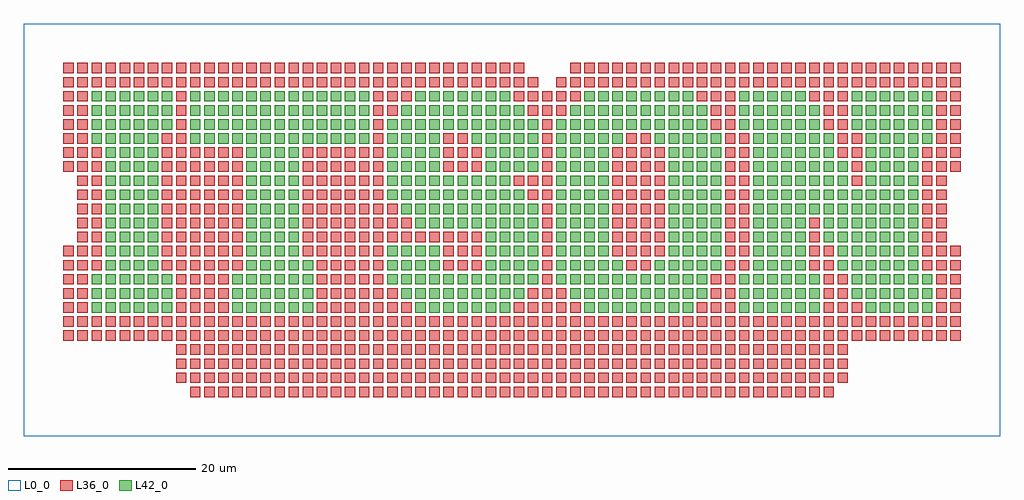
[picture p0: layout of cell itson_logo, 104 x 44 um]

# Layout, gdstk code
import gdstk
lib = gdstk.Library(unit=1e-6, precision=1e-09)
def R(c, l, rs):  # rectangles x0, y0, x1, y1
    for r in rs: c.add(gdstk.rectangle(r[:2], r[2:], *l))
def A(c, l, x, y, w, h, nx, ny, dx, dy):  # array of equal rectangles
    R(c, l, [(x+i*dx, y+j*dy, x+i*dx+w, y+j*dy+h) for i in range(nx) for j in range(ny)])
L0_0 = (0, 0)
L36_0 = (36, 0)
L42_0 = (42, 0)

itson_logo = lib.new_cell('itson_logo')
R(itson_logo, L0_0, [(0,0,104,44)])
A(itson_logo, L36_0, 17.7, 4.2, 1.1, 1.1, 46, 1, 1.5, 0)
A(itson_logo, L36_0, 16.2, 5.7, 1.1, 1.1, 48, 3, 1.5, 1.5)
A(itson_logo, L36_0, 4.2, 10.2, 1.1, 1.1, 64, 2, 1.5, 1.5)
A(itson_logo, L36_0, 4.2, 13.2, 1.1, 1.1, 1, 3, 0, 1.5)
A(itson_logo, L36_0, 5.7, 13.2, 1.1, 1.1, 1, 3, 0, 1.5)
A(itson_logo, L36_0, 16.2, 13.2, 1.1, 1.1, 4, 3, 1.5, 1.5)
A(itson_logo, L36_0, 31.2, 13.2, 1.1, 1.1, 7, 1, 1.5, 0)
A(itson_logo, L36_0, 52.2, 13.2, 1.1, 1.1, 5, 2, 1.5, 22.5)
A(itson_logo, L36_0, 71.7, 13.2, 1.1, 1.1, 3, 2, 1.5, 22.5)
A(itson_logo, L36_0, 85.2, 13.2, 1.1, 1.1, 3, 1, 1.5, 0)
A(itson_logo, L36_0, 97.2, 13.2, 1.1, 1.1, 1, 3, 0, 1.5)
A(itson_logo, L36_0, 98.7, 13.2, 1.1, 1.1, 1, 3, 0, 1.5)
A(itson_logo, L36_0, 31.2, 14.7, 1.1, 1.1, 6, 1, 1.5, 0)
A(itson_logo, L36_0, 53.7, 14.7, 1.1, 1.1, 3, 2, 1.5, 19.5)
A(itson_logo, L36_0, 74.7, 14.7, 1.1, 1.1, 1, 14, 0, 1.5)
A(itson_logo, L36_0, 85.2, 14.7, 1.1, 1.1, 1, 4, 0, 1.5)
A(itson_logo, L36_0, 31.2, 16.2, 1.1, 1.1, 5, 2, 1.5, 1.5)
A(itson_logo, L36_0, 55.2, 16.2, 1.1, 1.1, 1, 7, 0, 1.5)
A(itson_logo, L36_0, 4.2, 17.7, 1.1, 1.1, 3, 2, 1.5, 1.5)
A(itson_logo, L36_0, 14.7, 17.7, 1.1, 1.1, 6, 9, 1.5, 1.5)
A(itson_logo, L36_0, 44.7, 17.7, 1.1, 1.1, 3, 2, 1.5, 1.5)
A(itson_logo, L36_0, 76.2, 17.7, 1.1, 1.1, 1, 10, 0, 1.5)
A(itson_logo, L36_0, 83.7, 17.7, 1.1, 1.1, 1, 4, 0, 1.5)
A(itson_logo, L36_0, 95.7, 17.7, 1.1, 1.1, 3, 2, 1.5, 1.5)
A(itson_logo, L36_0, 29.7, 19.2, 1.1, 1.1, 6, 2, 1.5, 6)
A(itson_logo, L36_0, 62.7, 19.2, 1.1, 1.1, 4, 8, 1.5, 1.5)
A(itson_logo, L36_0, 5.7, 20.7, 1.1, 1.1, 1, 5, 0, 1.5)
A(itson_logo, L36_0, 7.2, 20.7, 1.1, 1.1, 1, 5, 0, 1.5)
A(itson_logo, L36_0, 29.7, 20.7, 1.1, 1.1, 13, 1, 1.5, 0)
A(itson_logo, L36_0, 95.7, 20.7, 1.1, 1.1, 1, 5, 0, 1.5)
A(itson_logo, L36_0, 97.2, 20.7, 1.1, 1.1, 1, 5, 0, 1.5)
A(itson_logo, L36_0, 29.7, 22.2, 1.1, 1.1, 8, 1, 1.5, 0)
A(itson_logo, L36_0, 29.7, 23.7, 1.1, 1.1, 7, 1, 1.5, 0)
A(itson_logo, L36_0, 29.7, 26.7, 1.1, 1.1, 6, 3, 1.5, 1.5)
A(itson_logo, L36_0, 52.2, 26.7, 1.1, 1.1, 3, 1, 1.5, 0)
A(itson_logo, L36_0, 88.2, 26.7, 1.1, 1.1, 1, 4, 0, 1.5)
A(itson_logo, L36_0, 4.2, 28.2, 1.1, 1.1, 3, 2, 1.5, 1.5)
A(itson_logo, L36_0, 44.7, 28.2, 1.1, 1.1, 3, 2, 1.5, 1.5)
A(itson_logo, L36_0, 95.7, 28.2, 1.1, 1.1, 3, 2, 1.5, 1.5)
A(itson_logo, L36_0, 86.7, 29.7, 1.1, 1.1, 1, 4, 0, 1.5)
A(itson_logo, L36_0, 4.2, 31.2, 1.1, 1.1, 1, 4, 0, 1.5)
A(itson_logo, L36_0, 5.7, 31.2, 1.1, 1.1, 1, 4, 0, 1.5)
A(itson_logo, L36_0, 16.2, 31.2, 1.1, 1.1, 1, 4, 0, 1.5)
A(itson_logo, L36_0, 46.2, 31.2, 1.1, 1.1, 3, 1, 9, 0)
A(itson_logo, L36_0, 97.2, 31.2, 1.1, 1.1, 1, 4, 0, 1.5)
A(itson_logo, L36_0, 98.7, 31.2, 1.1, 1.1, 1, 4, 0, 1.5)
A(itson_logo, L36_0, 37.2, 32.7, 1.1, 1.1, 3, 1, 18, 0)
A(itson_logo, L36_0, 37.2, 35.7, 1.1, 1.1, 3, 1, 1.5, 0)
A(itson_logo, L36_0, 83.7, 35.7, 1.1, 1.1, 3, 1, 1.5, 0)
A(itson_logo, L36_0, 4.2, 37.2, 1.1, 1.1, 34, 1, 1.5, 0)
A(itson_logo, L36_0, 56.7, 37.2, 1.1, 1.1, 29, 1, 1.5, 0)
A(itson_logo, L36_0, 4.2, 38.7, 1.1, 1.1, 33, 1, 1.5, 0)
A(itson_logo, L36_0, 58.2, 38.7, 1.1, 1.1, 28, 1, 1.5, 0)
R(itson_logo, L36_0, [(73.2,14.7,74.3,15.8), (86.7,14.7,87.8,15.8), (73.2,16.2,74.3,17.3), (86.7,16.2,87.8,17.3), (64.2,17.7,65.3,18.8), (65.7,17.7,66.8,18.8), (53.7,25.2,54.8,26.3), (55.2,28.2,56.3,29.3), (55.2,29.7,56.3,30.8), (14.7,31.2,15.8,32.3), (37.2,31.2,38.3,32.3), (44.7,31.2,45.8,32.3), (65.7,31.2,66.8,32.3), (85.2,32.7,86.3,33.8), (37.2,34.2,38.3,35.3), (38.7,34.2,39.8,35.3), (73.2,34.2,74.3,35.3), (85.2,34.2,86.3,35.3)])
A(itson_logo, L42_0, 7.2, 13.2, 1.1, 1.1, 6, 3, 1.5, 1.5)
A(itson_logo, L42_0, 22.2, 13.2, 1.1, 1.1, 6, 3, 1.5, 1.5)
A(itson_logo, L42_0, 41.7, 13.2, 1.1, 1.1, 7, 2, 1.5, 22.5)
A(itson_logo, L42_0, 59.7, 13.2, 1.1, 1.1, 8, 2, 1.5, 22.5)
A(itson_logo, L42_0, 76.2, 13.2, 1.1, 1.1, 6, 3, 1.5, 1.5)
A(itson_logo, L42_0, 89.7, 13.2, 1.1, 1.1, 5, 2, 1.5, 18)
A(itson_logo, L42_0, 40.2, 14.7, 1.1, 1.1, 9, 2, 1.5, 19.5)
A(itson_logo, L42_0, 58.2, 14.7, 1.1, 1.1, 10, 2, 1.5, 19.5)
A(itson_logo, L42_0, 88.2, 14.7, 1.1, 1.1, 6, 2, 1.5, 1.5)
A(itson_logo, L42_0, 38.7, 16.2, 1.1, 1.1, 11, 2, 1.5, 16.5)
A(itson_logo, L42_0, 56.7, 16.2, 1.1, 1.1, 11, 2, 1.5, 16.5)
A(itson_logo, L42_0, 8.7, 17.7, 1.1, 1.1, 4, 9, 1.5, 1.5)
A(itson_logo, L42_0, 23.7, 17.7, 1.1, 1.1, 5, 1, 1.5, 0)
A(itson_logo, L42_0, 38.7, 17.7, 1.1, 1.1, 4, 2, 1.5, 1.5)
A(itson_logo, L42_0, 49.2, 17.7, 1.1, 1.1, 4, 3, 1.5, 1.5)
A(itson_logo, L42_0, 56.7, 17.7, 1.1, 1.1, 5, 2, 1.5, 13.5)
A(itson_logo, L42_0, 67.2, 17.7, 1.1, 1.1, 5, 2, 1.5, 13.5)
A(itson_logo, L42_0, 77.7, 17.7, 1.1, 1.1, 4, 4, 1.5, 1.5)
A(itson_logo, L42_0, 86.7, 17.7, 1.1, 1.1, 6, 2, 1.5, 1.5)
A(itson_logo, L42_0, 23.7, 19.2, 1.1, 1.1, 4, 8, 1.5, 1.5)
A(itson_logo, L42_0, 56.7, 19.2, 1.1, 1.1, 4, 8, 1.5, 1.5)
A(itson_logo, L42_0, 68.7, 19.2, 1.1, 1.1, 4, 8, 1.5, 1.5)
A(itson_logo, L42_0, 85.2, 20.7, 1.1, 1.1, 7, 2, 1.5, 1.5)
A(itson_logo, L42_0, 41.7, 22.2, 1.1, 1.1, 9, 1, 1.5, 0)
A(itson_logo, L42_0, 40.2, 23.7, 1.1, 1.1, 10, 1, 1.5, 0)
A(itson_logo, L42_0, 77.7, 23.7, 1.1, 1.1, 12, 2, 1.5, 1.5)
A(itson_logo, L42_0, 38.7, 25.2, 1.1, 1.1, 10, 1, 1.5, 0)
A(itson_logo, L42_0, 38.7, 26.7, 1.1, 1.1, 9, 1, 1.5, 0)
A(itson_logo, L42_0, 77.7, 26.7, 1.1, 1.1, 7, 2, 1.5, 1.5)
A(itson_logo, L42_0, 89.7, 26.7, 1.1, 1.1, 4, 3, 1.5, 1.5)
A(itson_logo, L42_0, 38.7, 28.2, 1.1, 1.1, 4, 3, 1.5, 1.5)
A(itson_logo, L42_0, 49.2, 28.2, 1.1, 1.1, 4, 2, 1.5, 1.5)
A(itson_logo, L42_0, 77.7, 29.7, 1.1, 1.1, 6, 2, 1.5, 1.5)
A(itson_logo, L42_0, 7.2, 31.2, 1.1, 1.1, 5, 1, 1.5, 0)
A(itson_logo, L42_0, 17.7, 31.2, 1.1, 1.1, 13, 4, 1.5, 1.5)
A(itson_logo, L42_0, 47.7, 31.2, 1.1, 1.1, 5, 1, 1.5, 0)
A(itson_logo, L42_0, 7.2, 32.7, 1.1, 1.1, 6, 3, 1.5, 1.5)
A(itson_logo, L42_0, 76.2, 32.7, 1.1, 1.1, 6, 2, 1.5, 1.5)
A(itson_logo, L42_0, 88.2, 32.7, 1.1, 1.1, 6, 3, 1.5, 1.5)
A(itson_logo, L42_0, 76.2, 35.7, 1.1, 1.1, 5, 1, 1.5, 0)

lib.write_gds('itson_logo.gds')
